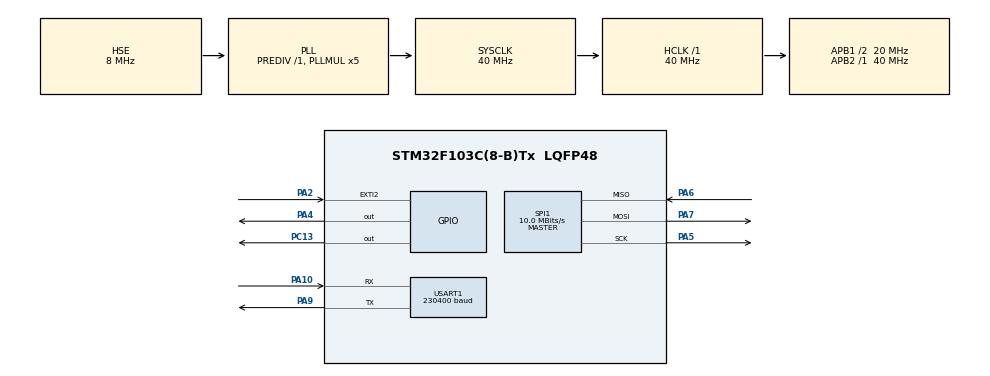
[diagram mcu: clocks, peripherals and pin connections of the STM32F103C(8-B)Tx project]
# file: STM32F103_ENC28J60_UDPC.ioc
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Mcu.Family=STM32F1
Mcu.Name=STM32F103C(8-B)Tx
Mcu.Package=LQFP48
NVIC.EXTI2_IRQn=true\:0\:0\:false\:false\:true\:true\:true
NVIC.PriorityGroup=NVIC_PRIORITYGROUP_4
NVIC.TIM2_IRQn=true\:0\:0\:false\:false\:true\:true\:true
NVIC.USART1_IRQn=true\:0\:0\:false\:false\:true\:true\:true
PA10.Mode=Asynchronous
PA10.Signal=USART1_RX
PA13.Mode=Serial_Wire
PA13.Signal=SYS_JTMS-SWDIO
PA14.Mode=Serial_Wire
PA14.Signal=SYS_JTCK-SWCLK
PA2.GPIO_ModeDefaultEXTI=GPIO_MODE_IT_FALLING
PA2.Signal=GPXTI2
PA4.GPIO_Speed=GPIO_SPEED_FREQ_MEDIUM
PA4.Signal=GPIO_Output
PA5.Mode=Full_Duplex_Master
PA5.Signal=SPI1_SCK
PA6.Mode=Full_Duplex_Master
PA6.Signal=SPI1_MISO
PA7.Mode=Full_Duplex_Master
PA7.Signal=SPI1_MOSI
PA9.Mode=Asynchronous
PA9.Signal=USART1_TX
PC13-TAMPER-RTC.GPIO_Speed=GPIO_SPEED_FREQ_MEDIUM
PC13-TAMPER-RTC.Signal=GPIO_Output
PD0-OSC_IN.Mode=HSE-External-Oscillator
PD0-OSC_IN.Signal=RCC_OSC_IN
PD1-OSC_OUT.Mode=HSE-External-Oscillator
PD1-OSC_OUT.Signal=RCC_OSC_OUT
ProjectManager.HeapSize=0x200
ProjectManager.StackSize=0x400
ProjectManager.TargetToolchain=STM32CubeIDE
RCC.AHBCLKDivider=RCC_SYSCLK_DIV1
RCC.AHBFreq_Value=40000000
RCC.APB1CLKDivider=RCC_HCLK_DIV2
RCC.APB1Freq_Value=20000000
RCC.APB1TimFreq_Value=40000000
RCC.APB2CLKDivider=RCC_HCLK_DIV1
RCC.APB2Freq_Value=40000000
RCC.APB2TimFreq_Value=40000000
RCC.HCLKFreq_Value=40000000
RCC.OscillatorTypeHSI=RCC_OSCILLATORTYPE_HSI
RCC.PLLMUL=RCC_PLL_MUL5
RCC.PLLSourceVirtual=RCC_PLLSOURCE_HSE
RCC.SYSCLKFreq_VALUE=40000000
RCC.SYSCLKSource=RCC_SYSCLKSOURCE_PLLCLK
RCC.TimSys_Div=SYSTICK_CLKSOURCE_HCLK
RCC.USBFreq_Value=40000000
SPI1.BaudRatePrescaler=SPI_BAUDRATEPRESCALER_4
SPI1.CalculateBaudRate=10.0 MBits/s
SPI1.Direction=SPI_DIRECTION_2LINES
SPI1.Mode=SPI_MODE_MASTER
SPI1.VirtualType=VM_MASTER
TIM2.Period=1000
TIM2.Prescaler=39999
TIM2.TIM_MasterOutputTrigger=TIM_TRGO_UPDATE
USART1.BaudRate=230400
USART1.VirtualMode=VM_ASYNC
VP_TIM2_VS_ClockSourceINT.Mode=Internal
board=ENC28J60_UDPC

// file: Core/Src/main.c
/**
  ******************************************************************************
  * File Name          : main.c
  * Description        : Main program body
  ******************************************************************************
  ** This notice applies to any and all portions of this file
  * that are not between comment pairs USER CODE BEGIN and
  * USER CODE END. Other portions of this file, whether
  * inserted by the user or by software development tools
  * are owned by their respective copyright owners.
  *
  * COPYRIGHT(c) 2017 STMicroelectronics
  *
  * Redistribution and use in source and binary forms, with or without modification,
  * are permitted provided that the following conditions are met:
  *   1. Redistributions of source code must retain the above copyright notice,
  *      this list of conditions and the following disclaimer.
  *   2. Redistributions in binary form must reproduce the above copyright notice,
  *      this list of conditions and the following disclaimer in the documentation
  *      and/or other materials provided with the distribution.
  *   3. Neither the name of STMicroelectronics nor the names of its contributors
  *      may be used to endorse or promote products derived from this software
  *      without specific prior written permission.
  *
  * THIS SOFTWARE IS PROVIDED BY THE COPYRIGHT HOLDERS AND CONTRIBUTORS "AS IS"
  * AND ANY EXPRESS OR IMPLIED WARRANTIES, INCLUDING, BUT NOT LIMITED TO, THE
  * IMPLIED WARRANTIES OF MERCHANTABILITY AND FITNESS FOR A PARTICULAR PURPOSE ARE
  * DISCLAIMED. IN NO EVENT SHALL THE COPYRIGHT HOLDER OR CONTRIBUTORS BE LIABLE
  * FOR ANY DIRECT, INDIRECT, INCIDENTAL, SPECIAL, EXEMPLARY, OR CONSEQUENTIAL
  * DAMAGES (INCLUDING, BUT NOT LIMITED TO, PROCUREMENT OF SUBSTITUTE GOODS OR
  * SERVICES; LOSS OF USE, DATA, OR PROFITS; OR BUSINESS INTERRUPTION) HOWEVER
  * CAUSED AND ON ANY THEORY OF LIABILITY, WHETHER IN CONTRACT, STRICT LIABILITY,
  * OR TORT (INCLUDING NEGLIGENCE OR OTHERWISE) ARISING IN ANY WAY OUT OF THE USE
  * OF THIS SOFTWARE, EVEN IF ADVISED OF THE POSSIBILITY OF SUCH DAMAGE.
  *
  ******************************************************************************
  */
#include "main.h"
#include "stm32f1xx_hal.h"

/* USER CODE BEGIN Includes */
#include "net.h"
#include "enc28j60.h"
/* USER CODE END Includes */

SPI_HandleTypeDef hspi1;

TIM_HandleTypeDef htim2;

UART_HandleTypeDef huart1;

/* USER CODE BEGIN PV */
/* Private variables ---------------------------------------------------------*/
char str[20];
/* USER CODE END PV */

void SystemClock_Config(void);
static void MX_GPIO_Init(void);
static void MX_SPI1_Init(void);
static void MX_USART1_UART_Init(void);
static void MX_TIM2_Init(void);

/* USER CODE BEGIN PFP */
/* Private function prototypes -----------------------------------------------*/

/* USER CODE END PFP */

int main(void)
{

  /* MCU Configuration----------------------------------------------------------*/

  /* Reset of all peripherals, Initializes the Flash interface and the Systick. */
  HAL_Init();

  /* Configure the system clock */
  SystemClock_Config();

  /* Initialize all configured peripherals */
  MX_GPIO_Init();
  MX_SPI1_Init();
  MX_USART1_UART_Init();
  MX_TIM2_Init();

  /* USER CODE BEGIN 2 */
	net_ini();
	HAL_UART_Receive_IT(&huart1, (uint8_t*)str,1);
	HAL_TIM_Base_Start_IT(&htim2);
  /* USER CODE END 2 */

  /* Infinite loop */
  while (1)
  {

  /* USER CODE BEGIN 3 */
		//net_poll();
  }
  /* USER CODE END 3 */

}

/** System Clock Configuration
*/
void SystemClock_Config(void)
{

  RCC_OscInitTypeDef RCC_OscInitStruct;
  RCC_ClkInitTypeDef RCC_ClkInitStruct;

    /**Initializes the CPU, AHB and APB busses clocks
    */
  RCC_OscInitStruct.OscillatorType = RCC_OSCILLATORTYPE_HSI|RCC_OSCILLATORTYPE_HSE;
  RCC_OscInitStruct.HSEState = RCC_HSE_ON;
  RCC_OscInitStruct.HSEPredivValue = RCC_HSE_PREDIV_DIV1;
  RCC_OscInitStruct.HSIState = RCC_HSI_ON;
  RCC_OscInitStruct.PLL.PLLState = RCC_PLL_ON;
  RCC_OscInitStruct.PLL.PLLSource = RCC_PLLSOURCE_HSE;
  RCC_OscInitStruct.PLL.PLLMUL = RCC_PLL_MUL5;
  if (HAL_RCC_OscConfig(&RCC_OscInitStruct) != HAL_OK)
  {
    _Error_Handler(__FILE__, __LINE__);
  }

    /**Initializes the CPU, AHB and APB busses clocks
    */
  RCC_ClkInitStruct.ClockType = RCC_CLOCKTYPE_HCLK|RCC_CLOCKTYPE_SYSCLK
                              |RCC_CLOCKTYPE_PCLK1|RCC_CLOCKTYPE_PCLK2;
  RCC_ClkInitStruct.SYSCLKSource = RCC_SYSCLKSOURCE_PLLCLK;
  RCC_ClkInitStruct.AHBCLKDivider = RCC_SYSCLK_DIV1;
  RCC_ClkInitStruct.APB1CLKDivider = RCC_HCLK_DIV2;
  RCC_ClkInitStruct.APB2CLKDivider = RCC_HCLK_DIV1;

  if (HAL_RCC_ClockConfig(&RCC_ClkInitStruct, FLASH_LATENCY_1) != HAL_OK)
  {
    _Error_Handler(__FILE__, __LINE__);
  }

    /**Configure the Systick interrupt time
    */
  HAL_SYSTICK_Config(HAL_RCC_GetHCLKFreq()/1000);

    /**Configure the Systick
    */
  HAL_SYSTICK_CLKSourceConfig(SYSTICK_CLKSOURCE_HCLK);

  /* SysTick_IRQn interrupt configuration */
  HAL_NVIC_SetPriority(SysTick_IRQn, 0, 0);
}

/* SPI1 init function */
static void MX_SPI1_Init(void)
{

  hspi1.Instance = SPI1;
  hspi1.Init.Mode = SPI_MODE_MASTER;
  hspi1.Init.Direction = SPI_DIRECTION_2LINES;
  hspi1.Init.DataSize = SPI_DATASIZE_8BIT;
  hspi1.Init.CLKPolarity = SPI_POLARITY_LOW;
  hspi1.Init.CLKPhase = SPI_PHASE_1EDGE;
  hspi1.Init.NSS = SPI_NSS_SOFT;
  hspi1.Init.BaudRatePrescaler = SPI_BAUDRATEPRESCALER_4;
  hspi1.Init.FirstBit = SPI_FIRSTBIT_MSB;
  hspi1.Init.TIMode = SPI_TIMODE_DISABLE;
  hspi1.Init.CRCCalculation = SPI_CRCCALCULATION_DISABLE;
  hspi1.Init.CRCPolynomial = 10;
  if (HAL_SPI_Init(&hspi1) != HAL_OK)
  {
    _Error_Handler(__FILE__, __LINE__);
  }

}

/* TIM2 init function */
static void MX_TIM2_Init(void)
{

  TIM_ClockConfigTypeDef sClockSourceConfig;
  TIM_MasterConfigTypeDef sMasterConfig;

  htim2.Instance = TIM2;
  htim2.Init.Prescaler = 39999;
  htim2.Init.CounterMode = TIM_COUNTERMODE_UP;
  htim2.Init.Period = 1000;
  htim2.Init.ClockDivision = TIM_CLOCKDIVISION_DIV1;
  if (HAL_TIM_Base_Init(&htim2) != HAL_OK)
  {
    _Error_Handler(__FILE__, __LINE__);
  }

  sClockSourceConfig.ClockSource = TIM_CLOCKSOURCE_INTERNAL;
  if (HAL_TIM_ConfigClockSource(&htim2, &sClockSourceConfig) != HAL_OK)
  {
    _Error_Handler(__FILE__, __LINE__);
  }

  sMasterConfig.MasterOutputTrigger = TIM_TRGO_UPDATE;
  sMasterConfig.MasterSlaveMode = TIM_MASTERSLAVEMODE_DISABLE;
  if (HAL_TIMEx_MasterConfigSynchronization(&htim2, &sMasterConfig) != HAL_OK)
  {
    _Error_Handler(__FILE__, __LINE__);
  }

}

/* USART1 init function */
static void MX_USART1_UART_Init(void)
{

  huart1.Instance = USART1;
  huart1.Init.BaudRate = 230400;
  huart1.Init.WordLength = UART_WORDLENGTH_8B;
  huart1.Init.StopBits = UART_STOPBITS_1;
  huart1.Init.Parity = UART_PARITY_NONE;
  huart1.Init.Mode = UART_MODE_TX_RX;
  huart1.Init.HwFlowCtl = UART_HWCONTROL_NONE;
  huart1.Init.OverSampling = UART_OVERSAMPLING_16;
  if (HAL_UART_Init(&huart1) != HAL_OK)
  {
    _Error_Handler(__FILE__, __LINE__);
  }

}

/** Configure pins as
        * Analog
        * Input
        * Output
        * EVENT_OUT
        * EXTI
*/
static void MX_GPIO_Init(void)
{

  GPIO_InitTypeDef GPIO_InitStruct;

  /* GPIO Ports Clock Enable */
  __HAL_RCC_GPIOC_CLK_ENABLE();
  __HAL_RCC_GPIOD_CLK_ENABLE();
  __HAL_RCC_GPIOA_CLK_ENABLE();

  /*Configure GPIO pin Output Level */
  HAL_GPIO_WritePin(GPIOC, GPIO_PIN_13, GPIO_PIN_RESET);

  /*Configure GPIO pin Output Level */
  HAL_GPIO_WritePin(GPIOA, GPIO_PIN_4, GPIO_PIN_RESET);

  /*Configure GPIO pin : PC13 */
  GPIO_InitStruct.Pin = GPIO_PIN_13;
  GPIO_InitStruct.Mode = GPIO_MODE_OUTPUT_PP;
  GPIO_InitStruct.Speed = GPIO_SPEED_FREQ_MEDIUM;
  HAL_GPIO_Init(GPIOC, &GPIO_InitStruct);

  /*Configure GPIO pin : PA2 */
  GPIO_InitStruct.Pin = GPIO_PIN_2;
  GPIO_InitStruct.Mode = GPIO_MODE_IT_FALLING;
  GPIO_InitStruct.Pull = GPIO_NOPULL;
  HAL_GPIO_Init(GPIOA, &GPIO_InitStruct);

  /*Configure GPIO pin : PA4 */
  GPIO_InitStruct.Pin = GPIO_PIN_4;
  GPIO_InitStruct.Mode = GPIO_MODE_OUTPUT_PP;
  GPIO_InitStruct.Speed = GPIO_SPEED_FREQ_MEDIUM;
  HAL_GPIO_Init(GPIOA, &GPIO_InitStruct);

  /* EXTI interrupt init*/
  HAL_NVIC_SetPriority(EXTI2_IRQn, 0, 0);
  HAL_NVIC_EnableIRQ(EXTI2_IRQn);

}

/* USER CODE BEGIN 4 */
void HAL_UART_RxCpltCallback(UART_HandleTypeDef *huart)
{
  if(huart==&huart1)
  {
    UART1_RxCpltCallback();
  }
}
//----------------------------------------------------------
void HAL_TIM_PeriodElapsedCallback(TIM_HandleTypeDef *htim)
{
  if(htim==&htim2)
  {
    TIM_PeriodElapsedCallback();
  }
}
//----------------------------------------------------------
void HAL_GPIO_EXTI_Callback(uint16_t GPIO_Pin)
{
  if(GPIO_Pin== GPIO_PIN_2){
    net_poll();
  } else{
    __NOP();
  }
}
/* USER CODE END 4 */

void _Error_Handler(char * file, int line)
{
  while(1)
  {
  }
}

/************************ (C) COPYRIGHT STMicroelectronics *****END OF FILE****/
